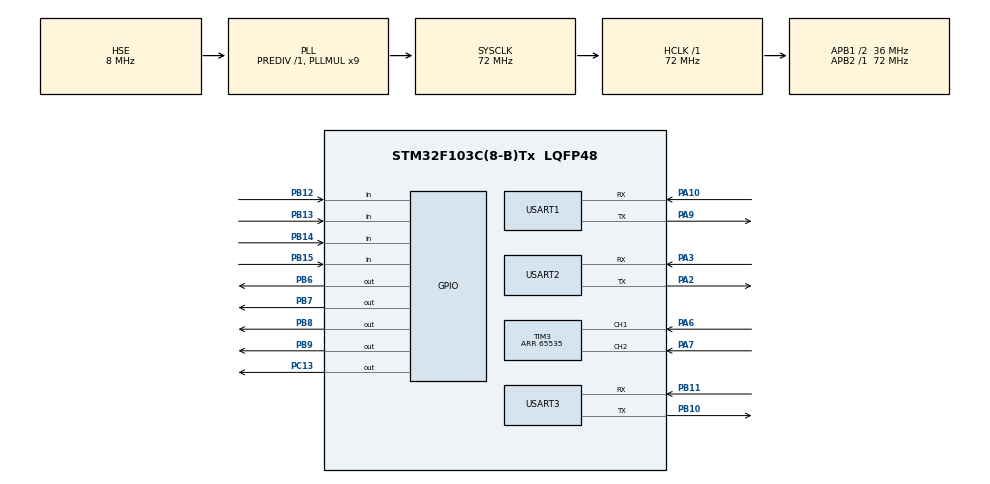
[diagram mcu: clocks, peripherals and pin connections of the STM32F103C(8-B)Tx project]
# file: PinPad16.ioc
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Mcu.Family=STM32F1
Mcu.Name=STM32F103C(8-B)Tx
Mcu.Package=LQFP48
NVIC.PriorityGroup=NVIC_PRIORITYGROUP_4
PA10.Mode=Asynchronous
PA10.Signal=USART1_RX
PA13.Mode=Serial_Wire
PA13.Signal=SYS_JTMS-SWDIO
PA14.Mode=Serial_Wire
PA14.Signal=SYS_JTCK-SWCLK
PA2.Mode=Asynchronous
PA2.Signal=USART2_TX
PA3.Mode=Asynchronous
PA3.Signal=USART2_RX
PA6.GPIO_PuPd=GPIO_PULLUP
PA6.Signal=S_TIM3_CH1
PA7.GPIO_PuPd=GPIO_PULLUP
PA7.Signal=S_TIM3_CH2
PA9.Mode=Asynchronous
PA9.Signal=USART1_TX
PB10.Mode=Asynchronous
PB10.Signal=USART3_TX
PB11.Mode=Asynchronous
PB11.Signal=USART3_RX
PB12.GPIO_PuPd=GPIO_PULLUP
PB12.Signal=GPIO_Input
PB13.GPIO_PuPd=GPIO_PULLUP
PB13.Signal=GPIO_Input
PB14.GPIO_PuPd=GPIO_PULLUP
PB14.Signal=GPIO_Input
PB15.GPIO_PuPd=GPIO_PULLUP
PB15.Signal=GPIO_Input
PB6.Signal=GPIO_Output
PB7.Signal=GPIO_Output
PB8.Signal=GPIO_Output
PB9.Signal=GPIO_Output
PC13-TAMPER-RTC.Signal=GPIO_Output
PD0-OSC_IN.Mode=HSE-External-Oscillator
PD0-OSC_IN.Signal=RCC_OSC_IN
PD1-OSC_OUT.Mode=HSE-External-Oscillator
PD1-OSC_OUT.Signal=RCC_OSC_OUT
ProjectManager.HeapSize=0x200
ProjectManager.StackSize=0x400
ProjectManager.TargetToolchain=Makefile
RCC.ADCPresc=RCC_ADCPCLK2_DIV6
RCC.AHBFreq_Value=72000000
RCC.APB1CLKDivider=RCC_HCLK_DIV2
RCC.APB1Freq_Value=36000000
RCC.APB1TimFreq_Value=72000000
RCC.APB2Freq_Value=72000000
RCC.APB2TimFreq_Value=72000000
RCC.HCLKFreq_Value=72000000
RCC.PLLMUL=RCC_PLL_MUL9
RCC.PLLSourceVirtual=RCC_PLLSOURCE_HSE
RCC.SYSCLKFreq_VALUE=72000000
RCC.SYSCLKSource=RCC_SYSCLKSOURCE_PLLCLK
RCC.USBFreq_Value=72000000
SH.S_TIM3_CH1.0=TIM3_CH1,Encoder_Interface
SH.S_TIM3_CH2.0=TIM3_CH2,Encoder_Interface
TIM3.EncoderMode=TIM_ENCODERMODE_TI12
TIM3.Period=65535
USART1.VirtualMode=VM_ASYNC
USART2.VirtualMode=VM_ASYNC
USART3.VirtualMode=VM_ASYNC
board=PinPad16

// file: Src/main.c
/**
  ******************************************************************************
  * @file           : main.c
  * @brief          : Main program body
  ******************************************************************************
  ** This notice applies to any and all portions of this file
  * that are not between comment pairs USER CODE BEGIN and
  * USER CODE END. Other portions of this file, whether
  * inserted by the user or by software development tools
  * are owned by their respective copyright owners.
  *
  * COPYRIGHT(c) 2018 STMicroelectronics
  *
  * Redistribution and use in source and binary forms, with or without modification,
  * are permitted provided that the following conditions are met:
  *   1. Redistributions of source code must retain the above copyright notice,
  *      this list of conditions and the following disclaimer.
  *   2. Redistributions in binary form must reproduce the above copyright notice,
  *      this list of conditions and the following disclaimer in the documentation
  *      and/or other materials provided with the distribution.
  *   3. Neither the name of STMicroelectronics nor the names of its contributors
  *      may be used to endorse or promote products derived from this software
  *      without specific prior written permission.
  *
  * THIS SOFTWARE IS PROVIDED BY THE COPYRIGHT HOLDERS AND CONTRIBUTORS "AS IS"
  * AND ANY EXPRESS OR IMPLIED WARRANTIES, INCLUDING, BUT NOT LIMITED TO, THE
  * IMPLIED WARRANTIES OF MERCHANTABILITY AND FITNESS FOR A PARTICULAR PURPOSE ARE
  * DISCLAIMED. IN NO EVENT SHALL THE COPYRIGHT HOLDER OR CONTRIBUTORS BE LIABLE
  * FOR ANY DIRECT, INDIRECT, INCIDENTAL, SPECIAL, EXEMPLARY, OR CONSEQUENTIAL
  * DAMAGES (INCLUDING, BUT NOT LIMITED TO, PROCUREMENT OF SUBSTITUTE GOODS OR
  * SERVICES; LOSS OF USE, DATA, OR PROFITS; OR BUSINESS INTERRUPTION) HOWEVER
  * CAUSED AND ON ANY THEORY OF LIABILITY, WHETHER IN CONTRACT, STRICT LIABILITY,
  * OR TORT (INCLUDING NEGLIGENCE OR OTHERWISE) ARISING IN ANY WAY OUT OF THE USE
  * OF THIS SOFTWARE, EVEN IF ADVISED OF THE POSSIBILITY OF SUCH DAMAGE.
  *
  ******************************************************************************
  */
#include "main.h"
#include "stm32f1xx_hal.h"
#include "tim.h"
#include "usart.h"
#include "gpio.h"

/* USER CODE BEGIN PV */
/* Private variables ---------------------------------------------------------*/

volatile uint32_t ticks=0;
uint32_t last_ticks = 0;

/* USER CODE END PV */

void SystemClock_Config(void);

/* USER CODE BEGIN PFP */
/* Private function prototypes -----------------------------------------------*/

void HAL_SYSTICK_Callback(void)
{
	ticks++;
}

uint32_t math_calc_diff(uint32_t value1, uint32_t value2) {
	if (value1 == value2) {
		return 0;
	}
	if (value1 > value2) {
		return (value1 - value2);
	}
	else {
		// check for overflow
		return (0xffffffff - value2 + value1);
	}
}

/* USER CODE END PFP */

/* USER CODE BEGIN 0 */

/*****************************************
 * SERIAL OUTPUT BEGIN
 *****************************************/

int _write(int file, char *data, int len)
{

   // arbitrary timeout 1000
   HAL_StatusTypeDef status =
      HAL_UART_Transmit(&huart3, (uint8_t*)data, len, 1000);

   // return # of bytes written - as best we can tell
   return (status == HAL_OK ? len : 0);
}
/*****************************************
 * SERIAL OUTPUT END
 *****************************************/

/* USER CODE END 0 */

int main(void)
{

  /* MCU Configuration----------------------------------------------------------*/

  /* Reset of all peripherals, Initializes the Flash interface and the Systick. */
  HAL_Init();

  /* Configure the system clock */
  SystemClock_Config();

  /* Initialize all configured peripherals */
  MX_GPIO_Init();
  MX_USART1_UART_Init();
  MX_USART2_UART_Init();
  MX_USART3_UART_Init();
  MX_TIM3_Init();
  /* USER CODE BEGIN 2 */

  // Connect rotary encoder to A6 and A7

  printf("Starting ...\r\n");

  TIM3->CNT = 10000;
  HAL_TIM_Encoder_Start(&htim3, TIM_CHANNEL_1 | TIM_CHANNEL_2 );
  /* USER CODE END 2 */

  uint16_t counter_last_value = TIM3->CNT;
  int16_t counter_distance = 0;
  /* Infinite loop */
  /* USER CODE BEGIN WHILE */
  while (1)
  {

	  // each x ms
	  if (math_calc_diff(ticks, last_ticks) > 200) {
		  last_ticks = ticks;
		  // blink LED
		  HAL_GPIO_TogglePin(GPIOC, GPIO_PIN_13);
		  //uint16_t counter_current_value = TIM3->CNT;
		  uint16_t counter_current_value = (TIM3->CNT) >> 1;
		  //counter_distance = (counter_current_value - counter_last_value) /2 ;
		  //counter_last_value = counter_current_value;
		  //printf("counter:%d \r\n", (int) counter_distance);
		  printf("counter:%d \r\n", counter_current_value);

	  }

  /* USER CODE END WHILE */

  }

}

void SystemClock_Config(void)
{

  RCC_OscInitTypeDef RCC_OscInitStruct;
  RCC_ClkInitTypeDef RCC_ClkInitStruct;

    /**Initializes the CPU, AHB and APB busses clocks
    */
  RCC_OscInitStruct.OscillatorType = RCC_OSCILLATORTYPE_HSE;
  RCC_OscInitStruct.HSEState = RCC_HSE_ON;
  RCC_OscInitStruct.HSEPredivValue = RCC_HSE_PREDIV_DIV1;
  RCC_OscInitStruct.HSIState = RCC_HSI_ON;
  RCC_OscInitStruct.PLL.PLLState = RCC_PLL_ON;
  RCC_OscInitStruct.PLL.PLLSource = RCC_PLLSOURCE_HSE;
  RCC_OscInitStruct.PLL.PLLMUL = RCC_PLL_MUL9;
  if (HAL_RCC_OscConfig(&RCC_OscInitStruct) != HAL_OK)
  {
    _Error_Handler(__FILE__, __LINE__);
  }

    /**Initializes the CPU, AHB and APB busses clocks
    */
  RCC_ClkInitStruct.ClockType = RCC_CLOCKTYPE_HCLK|RCC_CLOCKTYPE_SYSCLK
                              |RCC_CLOCKTYPE_PCLK1|RCC_CLOCKTYPE_PCLK2;
  RCC_ClkInitStruct.SYSCLKSource = RCC_SYSCLKSOURCE_PLLCLK;
  RCC_ClkInitStruct.AHBCLKDivider = RCC_SYSCLK_DIV1;
  RCC_ClkInitStruct.APB1CLKDivider = RCC_HCLK_DIV2;
  RCC_ClkInitStruct.APB2CLKDivider = RCC_HCLK_DIV1;

  if (HAL_RCC_ClockConfig(&RCC_ClkInitStruct, FLASH_LATENCY_2) != HAL_OK)
  {
    _Error_Handler(__FILE__, __LINE__);
  }

    /**Configure the Systick interrupt time
    */
  HAL_SYSTICK_Config(HAL_RCC_GetHCLKFreq()/1000);

    /**Configure the Systick
    */
  HAL_SYSTICK_CLKSourceConfig(SYSTICK_CLKSOURCE_HCLK);

  /* SysTick_IRQn interrupt configuration */
  HAL_NVIC_SetPriority(SysTick_IRQn, 0, 0);
}

void _Error_Handler(char *file, int line)
{
  while(1)
  {
  }
}

/************************ (C) COPYRIGHT STMicroelectronics *****END OF FILE****/
